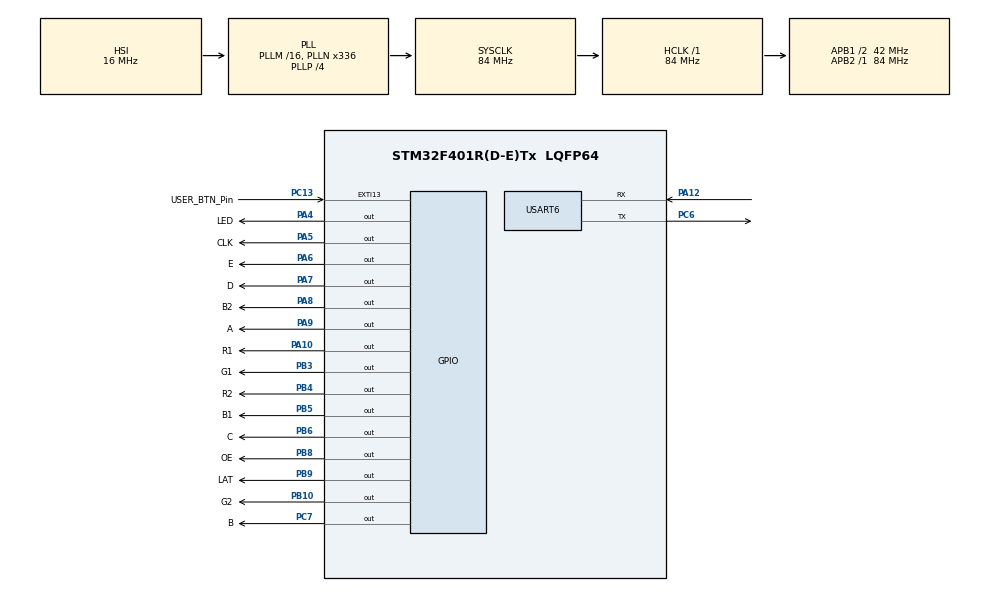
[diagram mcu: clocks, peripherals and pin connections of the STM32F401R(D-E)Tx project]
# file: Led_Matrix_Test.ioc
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FREERTOS.Tasks01=defaultTask,24,256,StartDefaultTask,Default,NULL,Dynamic,NULL,NULL
FREERTOS.configUSE_NEWLIB_REENTRANT=1
Dma.Request0=USART6_RX
Dma.USART6_RX.0.Direction=DMA_PERIPH_TO_MEMORY
Dma.USART6_RX.0.FIFOMode=DMA_FIFOMODE_DISABLE
Dma.USART6_RX.0.Instance=DMA2_Stream1
Dma.USART6_RX.0.MemDataAlignment=DMA_MDATAALIGN_BYTE
Dma.USART6_RX.0.MemInc=DMA_MINC_ENABLE
Dma.USART6_RX.0.Mode=DMA_NORMAL
Dma.USART6_RX.0.PeriphDataAlignment=DMA_PDATAALIGN_BYTE
Dma.USART6_RX.0.PeriphInc=DMA_PINC_DISABLE
Dma.USART6_RX.0.Priority=DMA_PRIORITY_LOW
Mcu.Family=STM32F4
Mcu.Name=STM32F401R(D-E)Tx
Mcu.Package=LQFP64
NVIC.DMA2_Stream1_IRQn=true\:5\:0\:false\:false\:true\:false\:true\:true\:true
NVIC.PriorityGroup=NVIC_PRIORITYGROUP_4
NVIC.TIM1_UP_TIM10_IRQn=true\:5\:0\:false\:false\:true\:true\:true\:true\:true
NVIC.TIM2_IRQn=true\:15\:0\:false\:false\:true\:false\:false\:true\:true
NVIC.TimeBase=TIM2_IRQn
NVIC.TimeBaseIP=TIM2
NVIC.USART6_IRQn=true\:5\:0\:false\:false\:true\:true\:true\:true\:true
PA10.GPIO_Label=R1
PA10.GPIO_Speed=GPIO_SPEED_FREQ_VERY_HIGH
PA10.Signal=GPIO_Output
PA12.Mode=Asynchronous
PA12.Signal=USART6_RX
PA13.Signal=SYS_JTMS-SWDIO
PA14.Signal=SYS_JTCK-SWCLK
PA2.GPIO_Label=USART_TX
PA2.GPIO_Mode=GPIO_MODE_AF_PP
PA2.GPIO_PuPd=GPIO_NOPULL
PA2.GPIO_Speed=GPIO_SPEED_FREQ_LOW
PA2.Signal=USART2_TX
PA3.GPIO_Label=USART_RX
PA3.GPIO_Mode=GPIO_MODE_AF_PP
PA3.GPIO_PuPd=GPIO_NOPULL
PA3.GPIO_Speed=GPIO_SPEED_FREQ_LOW
PA3.Signal=USART2_RX
PA4.GPIO_Label=LED
PA4.Signal=GPIO_Output
PA5.GPIO_Label=CLK
PA5.GPIO_Speed=GPIO_SPEED_FREQ_VERY_HIGH
PA5.Signal=GPIO_Output
PA6.GPIO_Label=E
PA6.GPIO_Speed=GPIO_SPEED_FREQ_VERY_HIGH
PA6.Signal=GPIO_Output
PA7.GPIO_Label=D
PA7.GPIO_Speed=GPIO_SPEED_FREQ_VERY_HIGH
PA7.Signal=GPIO_Output
PA8.GPIO_Label=B2
PA8.GPIO_Speed=GPIO_SPEED_FREQ_VERY_HIGH
PA8.Signal=GPIO_Output
PA9.GPIO_Label=A
PA9.GPIO_Speed=GPIO_SPEED_FREQ_VERY_HIGH
PA9.Signal=GPIO_Output
PB10.GPIO_Label=G2
PB10.GPIO_Speed=GPIO_SPEED_FREQ_VERY_HIGH
PB10.Signal=GPIO_Output
PB3.GPIO_Label=G1
PB3.GPIO_Speed=GPIO_SPEED_FREQ_VERY_HIGH
PB3.Signal=GPIO_Output
PB4.GPIO_Label=R2
PB4.GPIO_Speed=GPIO_SPEED_FREQ_VERY_HIGH
PB4.Signal=GPIO_Output
PB5.GPIO_Label=B1
PB5.GPIO_Speed=GPIO_SPEED_FREQ_VERY_HIGH
PB5.Signal=GPIO_Output
PB6.GPIO_Label=C
PB6.GPIO_Speed=GPIO_SPEED_FREQ_VERY_HIGH
PB6.Signal=GPIO_Output
PB8.GPIO_Label=OE
PB8.GPIO_Speed=GPIO_SPEED_FREQ_VERY_HIGH
PB8.Signal=GPIO_Output
PB9.GPIO_Label=LAT
PB9.GPIO_PuPd=GPIO_NOPULL
PB9.GPIO_Speed=GPIO_SPEED_FREQ_VERY_HIGH
PB9.Signal=GPIO_Output
PC13-ANTI_TAMP.GPIO_Label=USER_BTN_Pin
PC13-ANTI_TAMP.Signal=GPXTI13
PC14-OSC32_IN.Mode=LSE-External-Oscillator
PC14-OSC32_IN.Signal=RCC_OSC32_IN
PC15-OSC32_OUT.Mode=LSE-External-Oscillator
PC15-OSC32_OUT.Signal=RCC_OSC32_OUT
PC6.Mode=Asynchronous
PC6.Signal=USART6_TX
PC7.GPIO_Label=B
PC7.GPIO_Speed=GPIO_SPEED_FREQ_VERY_HIGH
PC7.Signal=GPIO_Output
PH0\ -\ OSC_IN.Mode=HSE-External-Oscillator
PH0\ -\ OSC_IN.Signal=RCC_OSC_IN
PH1\ -\ OSC_OUT.Mode=HSE-External-Oscillator
PH1\ -\ OSC_OUT.Signal=RCC_OSC_OUT
ProjectManager.HeapSize=0x200
ProjectManager.StackSize=0x400
ProjectManager.TargetToolchain=STM32CubeIDE
RCC.48MHZClocksFreq_Value=48000000
RCC.AHBFreq_Value=84000000
RCC.APB1CLKDivider=RCC_HCLK_DIV2
RCC.APB1Freq_Value=42000000
RCC.APB1TimFreq_Value=84000000
RCC.APB2Freq_Value=84000000
RCC.APB2TimFreq_Value=84000000
RCC.CortexFreq_Value=84000000
RCC.HCLKFreq_Value=84000000
RCC.HSE_VALUE=8000000
RCC.HSI_VALUE=16000000
RCC.PLLN=336
RCC.PLLP=RCC_PLLP_DIV4
RCC.PLLQ=7
RCC.SYSCLKFreq_VALUE=84000000
RCC.SYSCLKSource=RCC_SYSCLKSOURCE_PLLCLK
RCC.VCOOutputFreq_Value=336000000
TIM1.AutoReloadPreload=TIM_AUTORELOAD_PRELOAD_ENABLE
TIM1.Period=4
TIM1.Prescaler=582
TIM4.Period=99
TIM4.Prescaler=83
USART6.VirtualMode=VM_ASYNC
VP_FREERTOS_VS_CMSIS_V2.Mode=CMSIS_V2
VP_SYS_VS_tim2.Mode=TIM2
VP_TIM1_VS_ClockSourceINT.Mode=Internal
VP_TIM4_VS_ClockSourceINT.Mode=Internal
board=NUCLEO-F401RE

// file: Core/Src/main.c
/* USER CODE BEGIN Header */
/**
  ******************************************************************************
  * @file           : main.c
  * @brief          : Main program body
  ******************************************************************************
  * @attention
  *
  * Copyright (c) 2026 STMicroelectronics.
  * All rights reserved.
  *
  * This software is licensed under terms that can be found in the LICENSE file
  * in the root directory of this software component.
  * If no LICENSE file comes with this software, it is provided AS-IS.
  *
  ******************************************************************************
  */
/* USER CODE END Header */
#include "main.h"
#include "cmsis_os.h"
#include "dma.h"
#include "tim.h"
#include "usart.h"
#include "gpio.h"

/* USER CODE BEGIN Includes */
#include "Driver_RGBMatrix.h"
#include "modbus_slave.h"
#include "uart_comm.h"
#include <stdbool.h>
#include <string.h>
/* USER CODE END Includes */

/* USER CODE BEGIN PTD */
/* 센서값 한 곳. 그리기 코드는 값의 출처를 모른다 */
typedef struct
{
  uint16_t t_x10;   /* 섭씨 x10. SENSOR_T_NA = 무응답 */
  uint8_t  h_pct;   /* 상대습도 %. SENSOR_H_NA = 무응답 */
} ZoneSensor;

typedef struct
{
  UWORD x;
  UWORD y;
} Pt;
/* USER CODE END PTD */

/* USER CODE BEGIN PD */
/* 64x32 HUB75 1장. 화면 1(온습도 리드아웃) / 2(평면도 히트맵) / 3(화재)
 * 그리기는 전부 프레임버퍼 직접 쓰기. GUI_Paint 경로는 쓰지 않는다 */
#define APP_COLOR_TEST      0        /* 1이면 RGBW 세로 띠만 띄운다(배선 점검용) */
#define SENSOR_T_NA         0xFFFFu
#define SENSOR_H_NA         0xFFu

/* 좌표 검산. 규격이 경고한 "오른쪽 끝 64 / 아래 끝 32 초과"를 빌드 시점에 잡는다 */
_Static_assert(33 + 17 + 11 <= 64, "screen1 face overflows width");
_Static_assert(17 +  2 + 11 <= 32, "screen1 face overflows height");
_Static_assert(48 + 11      <= 64, "screen2 margin number overflows width");
_Static_assert(17 +  8 +  5 <= 32, "screen2 margin humidity overflows height");
_Static_assert(18 + 27      <= 64, "floor plan overflows width");
_Static_assert( 2 + 27      <= 32, "floor plan overflows height");
/* USER CODE END PD */

/* USER CODE BEGIN PV */
static UWORD gui_framebuffer[HUB75_PANEL_WIDTH * HUB75_PANEL_HEIGHT];

/* Z1,Z2,Z3,Z4 = 좌상, 우상, 좌하, 우하 */
static ZoneSensor zone_sensor[4];
static ZoneSensor display_zone_sensor[4];
static Modbus_IntruderTrack intruder_track;
static Modbus_IntruderTrack display_intruder_track;

/* USART6 수신 오류가 나면 HAL이 DMA 수신을 종료한다. 오류 콜백에서 즉시
 * 재시작하되, HAL/DMA가 아직 READY가 아니면 Modbus 태스크가 다시 시도한다. */
static volatile uint8_t  uart6_rx_restart_pending;
static volatile uint32_t uart6_rx_error_count;
static volatile uint32_t uart6_rx_last_error;
/* USER CODE END PV */

void SystemClock_Config(void);
void MX_FREERTOS_Init(void);
/* USER CODE BEGIN PFP */
void Modbus_Rtos_QueueFrameFromISR(const uint8_t *data, uint16_t len);
void Modbus_Uart_PollRecovery(void);
/* USER CODE END PFP */

/* USER CODE BEGIN 0 */

/* USART6 Modbus 수신을 IDLE DMA 모드로 시작한다. 오류 플래그는 SR/DR 읽기
 * 순서로 한꺼번에 지워 다음 시작 직후 같은 오류가 다시 걸리지 않게 한다. */
static HAL_StatusTypeDef Modbus_Uart_StartRx(void)
{
  HAL_StatusTypeDef status;

  __HAL_UART_CLEAR_OREFLAG(&huart6);
  status = HAL_UARTEx_ReceiveToIdle_DMA(&huart6, rx_buffer, sizeof(rx_buffer));
  if(status == HAL_OK)
  {
    __HAL_DMA_DISABLE_IT(huart6.hdmarx, DMA_IT_HT);
    uart6_rx_restart_pending = 0U;
  }
  else
  {
    uart6_rx_restart_pending = 1U;
  }

  return status;
}

/* 오류 IRQ 안에서 DMA 재시작이 실패했을 때 태스크 문맥에서 안전하게 정리한
 * 뒤 재시도한다. Modbus 태스크가 100 ms마다 호출하므로 RESET 없이 복구된다. */
void Modbus_Uart_PollRecovery(void)
{
  if(uart6_rx_restart_pending == 0U)
    return;

  (void)HAL_UART_AbortReceive(&huart6);
  (void)Modbus_Uart_StartRx();
}

/* --- 색 --------------------------------------------------------------- */

/* 채널당 0~7 레벨로 색을 만든다.
 * 드라이버가 각 채널의 비트 6/5/4만 읽고 비트7은 버리므로(HUB75_WritePanel),
 * RGB565를 눈대중으로 넣으면 엉뚱하게 어두워지거나 아예 검정이 된다. */
static UWORD app_rgb3(UWORD r, UWORD g, UWORD b)
{
  return (UWORD)(((r * 2U) << 11) | ((g * 4U) << 5) | (b * 2U));
}

static UWORD app_rgb3v(const uint8_t v[3])
{
  return app_rgb3(v[0], v[1], v[2]);
}

/* --- 프레임버퍼 --------------------------------------------------------- */

static void fb_fill(UWORD x, UWORD y, UWORD w, UWORD h, UWORD color)
{
  for(UWORD j = 0U; j < h; j++)
  {
    UWORD yy = (UWORD)(y + j);
    if(yy >= HUB75_PANEL_HEIGHT)
      break;
    for(UWORD i = 0U; i < w; i++)
    {
      UWORD xx = (UWORD)(x + i);
      if(xx >= HUB75_PANEL_WIDTH)
        break;
      gui_framebuffer[yy * HUB75_PANEL_WIDTH + xx] = color;
    }
  }
}

static void fb_flush(void)
{
  HUB75_LoadRGB565Frame(gui_framebuffer, HUB75_PANEL_WIDTH, HUB75_PANEL_HEIGHT);
}

/* --- 폰트 --------------------------------------------------------------- */

/* 5x7 굵은 숫자. 한 행의 하위 5비트, 왼쪽 픽셀이 bit4. 세로획 2px */
static const uint8_t font5x7[10][7] =
{
  {0x0E, 0x1B, 0x1B, 0x1B, 0x1B, 0x1B, 0x0E},   /* 0 */
  {0x06, 0x0E, 0x06, 0x06, 0x06, 0x06, 0x0F},   /* 1 */
  {0x0E, 0x1B, 0x03, 0x06, 0x0C, 0x18, 0x1F},   /* 2 */
  {0x1F, 0x03, 0x0E, 0x03, 0x03, 0x1B, 0x0E},   /* 3 */
  {0x03, 0x07, 0x0F, 0x1B, 0x1F, 0x03, 0x03},   /* 4 */
  {0x1F, 0x18, 0x1E, 0x03, 0x03, 0x1B, 0x0E},   /* 5 */
  {0x06, 0x0C, 0x18, 0x1E, 0x1B, 0x1B, 0x0E},   /* 6 */
  {0x1F, 0x03, 0x03, 0x06, 0x06, 0x0C, 0x0C},   /* 7 */
  {0x0E, 0x1B, 0x1B, 0x0E, 0x1B, 0x1B, 0x0E},   /* 8 */
  {0x0E, 0x1B, 0x1B, 0x0F, 0x03, 0x06, 0x0C}    /* 9 */
};
static const uint8_t font5x7_dash[7] = {0x00, 0x00, 0x00, 0x1F, 0x00, 0x00, 0x00};

/* 3x5 숫자. 한 행의 하위 3비트, 왼쪽 픽셀이 bit2 */
static const uint8_t font3x5[10][5] =
{
  {0x7U, 0x5U, 0x5U, 0x5U, 0x7U},   /* 0 */
  {0x2U, 0x6U, 0x2U, 0x2U, 0x7U},   /* 1 */
  {0x7U, 0x1U, 0x7U, 0x4U, 0x7U},   /* 2 */
  {0x7U, 0x1U, 0x7U, 0x1U, 0x7U},   /* 3 */
  {0x5U, 0x5U, 0x7U, 0x1U, 0x1U},   /* 4 */
  {0x7U, 0x4U, 0x7U, 0x1U, 0x7U},   /* 5 */
  {0x7U, 0x4U, 0x7U, 0x5U, 0x7U},   /* 6 */
  {0x7U, 0x1U, 0x2U, 0x2U, 0x2U},   /* 7 */
  {0x7U, 0x5U, 0x7U, 0x5U, 0x7U},   /* 8 */
  {0x7U, 0x5U, 0x7U, 0x1U, 0x7U}    /* 9 */
};
static const uint8_t font3x5_dash[5] = {0x0U, 0x0U, 0x7U, 0x0U, 0x0U};

/* rows[r]의 하위 w비트, 왼쪽 픽셀이 bit(w-1) */
static void fb_glyph(UWORD x, UWORD y, const uint8_t *rows, UWORD w, UWORD h, UWORD color)
{
  for(UWORD r = 0U; r < h; r++)
  {
    for(UWORD c = 0U; c < w; c++)
    {
      if(((rows[r] >> (w - 1U - c)) & 1U) != 0U)
        fb_fill((UWORD)(x + c), (UWORD)(y + r), 1U, 1U, color);
    }
  }
}

/* 두 자리. 0~99 밖이거나 무응답이면 규격대로 "--" 3·3·3. 클램프하지 않는다 */
static void fb_num2_5x7(UWORD x, UWORD y, int value, UWORD color)
{
  bool na = (value < 0) || (value > 99);
  UWORD col = na ? app_rgb3(3U, 3U, 3U) : color;

  fb_glyph(x,             y, na ? font5x7_dash : font5x7[(value / 10) % 10], 5U, 7U, col);
  fb_glyph((UWORD)(x + 6U), y, na ? font5x7_dash : font5x7[value % 10],      5U, 7U, col);
}

static void fb_num2_3x5(UWORD x, UWORD y, int value, UWORD color)
{
  bool na = (value < 0) || (value > 99);
  UWORD col = na ? app_rgb3(3U, 3U, 3U) : color;

  fb_glyph(x,             y, na ? font3x5_dash : font3x5[(value / 10) % 10], 3U, 5U, col);
  fb_glyph((UWORD)(x + 4U), y, na ? font3x5_dash : font3x5[value % 10],      3U, 5U, col);
}

/* --- 불쾌지수 얼굴 ------------------------------------------------------ */

/* 11x11, 하위 11비트, 왼쪽 픽셀이 bit10.
 * 모양과 색이 함께 바뀐다 - 색만이면 색약 사용자가 못 읽고,
 * 모양만이면 원거리에서 11px가 뭉개진다 */
static const uint16_t face11[4][11] =
{
  /* 쾌적: 웃는 입 */
  {0x0F8, 0x306, 0x202, 0x489, 0x489, 0x401, 0x505, 0x4F9, 0x202, 0x306, 0x0F8},
  /* 약간불쾌: 일자 입 */
  {0x0F8, 0x306, 0x202, 0x489, 0x489, 0x401, 0x401, 0x4F9, 0x202, 0x306, 0x0F8},
  /* 불쾌: 찡그린 입 */
  {0x0F8, 0x306, 0x202, 0x489, 0x489, 0x401, 0x4F9, 0x505, 0x202, 0x306, 0x0F8},
  /* 매우불쾌: 찡그린 입 + 찌푸린 눈썹 */
  {0x0F8, 0x306, 0x202, 0x58D, 0x489, 0x401, 0x4F9, 0x505, 0x202, 0x306, 0x0F8}
};
static const uint8_t di_rgb[4][3] = {{0U,6U,0U}, {6U,6U,0U}, {7U,4U,0U}, {7U,1U,0U}};

static void fb_face11(UWORD x, UWORD y, const uint16_t rows[11], UWORD color)
{
  for(UWORD r = 0U; r < 11U; r++)
  {
    for(UWORD c = 0U; c < 11U; c++)
    {
      if(((rows[r] >> (10U - c)) & 1U) != 0U)
        fb_fill((UWORD)(x + c), (UWORD)(y + r), 1U, 1U, color);
    }
  }
}

/* DI = 0.81T + 0.01H(0.99T - 14.3) + 46.3 */
static uint8_t app_di_level(uint16_t t_x10, uint8_t h_pct)
{
  float t = (float)t_x10 / 10.0f;
  float di = (0.81f * t) + (0.01f * (float)h_pct * ((0.99f * t) - 14.3f)) + 46.3f;

  if(di < 70.0f)
    return 0U;
  if(di < 75.0f)
    return 1U;
  if(di < 80.0f)
    return 2U;
  return 3U;
}

/* --- 센서 접근 (그리기 코드는 여기로만 읽는다) --------------------------- */

static int zone_temp_c(uint8_t z)
{
  uint16_t t = display_zone_sensor[z].t_x10;
  return (t == SENSOR_T_NA) ? -1 : (int)(t / 10U);
}

static int zone_humid(uint8_t z)
{
  uint8_t h = display_zone_sensor[z].h_pct;
  return (h == SENSOR_H_NA) ? -1 : (int)h;
}

static bool zone_ok(uint8_t z)
{
  return (zone_temp_c(z) >= 0) && (zone_humid(z) >= 0);
}

/* Modbus 가상 레지스터(100~107)를 화면용 센서 상태로 반영한다.
 * 값이 실제로 바뀐 경우에만 true를 반환해 Render 태스크가 다시 그리게 한다. */
bool App_UpdateSensorsFromModbus(void)
{
  static const uint16_t temp_addr[4] = {
    REG_ZONE1_TEMP_X10, REG_ZONE2_TEMP_X10,
    REG_ZONE3_TEMP_X10, REG_ZONE4_TEMP_X10
  };
  static const uint16_t humid_addr[4] = {
    REG_ZONE1_HUMIDITY, REG_ZONE2_HUMIDITY,
    REG_ZONE3_HUMIDITY, REG_ZONE4_HUMIDITY
  };
  bool changed = false;

  for(uint8_t z = 0U; z < 4U; z++)
  {
    int ok_temp = 0;
    int ok_humid = 0;
    uint16_t temp = Modbus_Slave_GetRegister(temp_addr[z], &ok_temp);
    uint16_t humid_raw = Modbus_Slave_GetRegister(humid_addr[z], &ok_humid);
    uint8_t humid = (ok_humid && (humid_raw <= 100U))
                  ? (uint8_t)humid_raw : SENSOR_H_NA;

    if(!ok_temp)
      temp = SENSOR_T_NA;

    if((zone_sensor[z].t_x10 != temp) || (zone_sensor[z].h_pct != humid))
    {
      zone_sensor[z].t_x10 = temp;
      zone_sensor[z].h_pct = humid;
      changed = true;
    }
  }

  return changed;
}

/* 침입자 현재점 A와 방향점 B를 원자적 스냅샷으로 가져온다. */
bool App_UpdateIntruderFromModbus(void)
{
  Modbus_IntruderTrack next;

  if(!Modbus_Slave_GetIntruderTrack(&next))
    return false;
  if(memcmp(&intruder_track, &next, sizeof(next)) == 0)
    return false;

  intruder_track = next;
  return true;
}

/* 화면 1과 이어지는 화면 2가 반드시 같은 시점의 데이터를 사용하도록 고정한다. */
void App_CaptureDisplayState(void)
{
  memcpy(display_zone_sensor, zone_sensor, sizeof(display_zone_sensor));
  display_intruder_track = intruder_track;
}

/* --- 화면 1: 온습도 리드아웃 -------------------------------------------- */

static const Pt cell_origin[4] = {{0U, 0U}, {33U, 0U}, {0U, 17U}, {33U, 17U}};

void App_DrawScreen1(void)
{
  const UWORD col_grid = app_rgb3(1U, 1U, 1U);

  memset(gui_framebuffer, 0, sizeof(gui_framebuffer));

  /* 격자: x31-32 세로 전체, y15-16 가로 전체 */
  fb_fill(31U, 0U, 2U, HUB75_PANEL_HEIGHT, col_grid);
  fb_fill(0U, 15U, HUB75_PANEL_WIDTH, 2U, col_grid);

  for(uint8_t z = 0U; z < 4U; z++)
  {
    UWORD ox = cell_origin[z].x;
    UWORD oy = cell_origin[z].y;

    fb_num2_5x7((UWORD)(ox + 2U), (UWORD)(oy + 1U), zone_temp_c(z), app_rgb3(7U, 7U, 7U));
    fb_num2_3x5((UWORD)(ox + 2U), (UWORD)(oy + 9U), zone_humid(z),  app_rgb3(3U, 4U, 5U));

    if(zone_ok(z))
    {
      uint8_t d = app_di_level(display_zone_sensor[z].t_x10,
                               display_zone_sensor[z].h_pct);
      fb_face11((UWORD)(ox + 17U), (UWORD)(oy + 2U), face11[d], app_rgb3v(di_rgb[d]));
    }
  }

  fb_flush();
}

/* --- 화면 2/3 공용 평면도 ------------------------------------------------ */

static const Pt plan_zone[4] = {{19U, 3U}, {32U, 3U}, {19U, 16U}, {32U, 16U}};

/* 외벽 + 십자벽 + 출입구 틈. 구역을 칠한 뒤에 그린다 */
static void fb_floor_walls(void)
{
  const UWORD w = app_rgb3(6U, 6U, 7U);

  fb_fill(18U,  2U, 27U,  1U, w);   /* 외벽 상 */
  fb_fill(18U, 28U, 27U,  1U, w);   /* 외벽 하 */
  fb_fill(18U,  2U,  1U, 27U, w);   /* 외벽 좌 */
  fb_fill(44U,  2U,  1U, 27U, w);   /* 외벽 우 */
  fb_fill(31U,  2U,  1U, 27U, w);   /* 십자 세로 */
  fb_fill(18U, 15U, 27U,  1U, w);   /* 십자 가로 */

  /* 출입구: 벽 픽셀을 실제로 소등해서 틈을 낸다 */
  fb_fill(36U,  2U, 5U, 1U, 0U);    /* 상단 우측 */
  fb_fill(23U, 28U, 5U, 1U, 0U);    /* 하단 좌측 */
}

/* 출입구 표식 5x1. 벽과 1px 여백 */
static void fb_door_marks(UWORD color)
{
  fb_fill(36U,  0U, 5U, 1U, color);
  fb_fill(23U, 30U, 5U, 1U, color);
}

/* --- 화면 2: 구역별 환경 상태(불쾌지수) ----------------------------------- */

/* 0~1000 좌표를 평면도 안쪽의 3x3 점 좌상단으로 바꾼다.
 * 입력 (0,0)=좌상단, (1000,1000)=우하단이다. */
static Pt app_intruder_dot(uint16_t x, uint16_t y)
{
  Pt p;
  p.x = (UWORD)(19U + ((uint32_t)x * 22U) / MODBUS_COORD_MAX);
  p.y = (UWORD)( 3U + ((uint32_t)y * 22U) / MODBUS_COORD_MAX);
  return p;
}

static void fb_intruder_dots(void)
{
  if((display_intruder_track.status & MODBUS_INTRUDER_DIRECTION_VALID) != 0U)
  {
    Pt b = app_intruder_dot(display_intruder_track.direction_x,
                            display_intruder_track.direction_y);
    fb_fill(b.x, b.y, 3U, 3U, app_rgb3(0U, 7U, 7U));  /* B: 방향점, 청록 */
  }

  if((display_intruder_track.status & MODBUS_INTRUDER_CURRENT_VALID) != 0U)
  {
    Pt a = app_intruder_dot(display_intruder_track.current_x,
                            display_intruder_track.current_y);
    fb_fill(a.x, a.y, 3U, 3U, app_rgb3(7U, 7U, 7U));  /* A: 현재점, 흰색 */
  }
}

/* Zone 1 우측 상단의 화재 셔터. 상단 출입문과 같은 높이로 표시한다. */
static void fb_fire_shutter(void)
{
  fb_fill(26U, 2U, 5U, 1U, 0U);
  fb_fill(26U, 0U, 5U, 1U, app_rgb3(7U, 2U, 0U));
}

void App_DrawScreen2(void)
{
  memset(gui_framebuffer, 0, sizeof(gui_framebuffer));

  for(uint8_t z = 0U; z < 4U; z++)
  {
    UWORD col;
    UWORD label_col;

    if(!zone_ok(z))
    {
      col = app_rgb3(1U, 1U, 1U);   /* 무응답 구역은 눌러둔다 */
      label_col = app_rgb3(6U, 6U, 7U);
    }
    else
    {
      uint8_t d = app_di_level(display_zone_sensor[z].t_x10,
                               display_zone_sensor[z].h_pct);
      col = app_rgb3v(di_rgb[d]);
      label_col = 0U;
    }

    fb_fill(plan_zone[z].x, plan_zone[z].y, 12U, 12U, col);
    fb_glyph((UWORD)(plan_zone[z].x + 3U), (UWORD)(plan_zone[z].y + 2U),
             font5x7[z + 1U], 5U, 7U, label_col);
  }

  fb_floor_walls();
  fb_door_marks(app_rgb3(0U, 5U, 0U));
  fb_intruder_dots();
  fb_fire_shutter();

  fb_flush();
}

/* --- 화면 3: 화재 -------------------------------------------------------- */

/* ponytail: 출입구 두 곳을 항상 함께 점멸시킨다. 화재가 문 쪽 구역에서 났을 때
 * 위험한 문을 끄는 규칙은 미결이라 넣지 않았다 */
void App_DrawScreen3(uint8_t fire_zone, bool blink_on)
{
  memset(gui_framebuffer, 0, sizeof(gui_framebuffer));

  for(uint8_t z = 0U; z < 4U; z++)
  {
    UWORD col;

    if(z == fire_zone)
      col = blink_on ? app_rgb3(7U, 0U, 0U) : app_rgb3(3U, 0U, 0U);
    else
      col = app_rgb3(1U, 1U, 1U);   /* 시선을 뺏지 않게 눌러둔다 */

    fb_fill(plan_zone[z].x, plan_zone[z].y, 12U, 12U, col);
  }

  fb_floor_walls();

  /* 출입구는 화재 구역과 반대 위상.
   * 같은 위상이면 "어디로 가라"가 아니라 화면 전체가 깜빡이는 걸로 보인다 */
  fb_door_marks(blink_on ? app_rgb3(0U, 2U, 0U) : app_rgb3(0U, 7U, 0U));

  /* 화재 구역 안에만 구역번호 한 자리. 규격의 (23,7)은 Z1 기준 +4,+4 */
  fb_glyph((UWORD)(plan_zone[fire_zone].x + 4U), (UWORD)(plan_zone[fire_zone].y + 4U),
           font5x7[(fire_zone + 1U) % 10U], 5U, 7U, app_rgb3(7U, 7U, 7U));

  fb_flush();
}

#if APP_COLOR_TEST
/* 채널별 배선 점검용. 세로 띠라 위/아래 절반(R1G1B1 / R2G2B2)을 동시에 지난다 */
static void App_DrawColorTest(void)
{
  memset(gui_framebuffer, 0, sizeof(gui_framebuffer));
  fb_fill(0U,  0U, 16U, HUB75_PANEL_HEIGHT, app_rgb3(7U, 0U, 0U));
  fb_fill(16U, 0U, 16U, HUB75_PANEL_HEIGHT, app_rgb3(0U, 7U, 0U));
  fb_fill(32U, 0U, 16U, HUB75_PANEL_HEIGHT, app_rgb3(0U, 0U, 7U));
  fb_fill(48U, 0U, 16U, HUB75_PANEL_HEIGHT, app_rgb3(7U, 7U, 7U));
  fb_flush();
}
#endif
/* USER CODE END 0 */

int main(void)
{

  /* MCU Configuration--------------------------------------------------------*/

  /* Reset of all peripherals, Initializes the Flash interface and the Systick. */
  HAL_Init();

  /* Configure the system clock */
  SystemClock_Config();

  /* Initialize all configured peripherals */
  MX_GPIO_Init();
  MX_DMA_Init();
  MX_TIM4_Init();
  MX_TIM1_Init();
  MX_USART6_UART_Init();
  /* USER CODE BEGIN 2 */
  /* CubeMX NVIC 화면은 FreeRTOS가 켜지면 5보다 급한(숫자가 작은) 우선순위를
   * 못 고르게 막는다 - RTOS API를 부르는 ISR이 실수로 커널 관리 밖에 놓이는
   * 걸 막기 위한 안전장치. TIM1 스캔 ISR은 정확히 그 "관리 밖"에 있어야
   * 하고 RTOS API를 전혀 안 부르니 여기서 GUI값(5) 위에 덮어쓴다.
   * MX_TIM1_Init()이 이미 위에서 5로 설정한 뒤라 순서상 이 자리여야 함 */
  HAL_NVIC_SetPriority(TIM1_UP_TIM10_IRQn, 0, 0);

  Modbus_Slave_Init();

  DWT_Init();
  HUB75_Init();
  HUB75_SetBrightness(255);
  /* 1 = 가장 빠름. 낮은 값일수록 스캔이 잦아 깜빡임이 준다.
   * 4는 초당 프레임을 61Hz까지 떨어뜨려 오히려 더 깜빡인다 */
  HUB75_SetRefreshRate(1);

  App_UpdateSensorsFromModbus();
  App_CaptureDisplayState();
  /* USER CODE END 2 */

  /* Init scheduler */
  osKernelInitialize();  /* Call init function for freertos objects (in cmsis_os2.c) */
  MX_FREERTOS_Init();

  /* Queue가 만들어진 뒤 DMA 수신을 시작해야 첫 프레임도 유실되지 않는다. */
  if(Modbus_Uart_StartRx() != HAL_OK)
  {
    Error_Handler();
  }

  /* Start scheduler */
  osKernelStart();

  /* We should never get here as control is now taken by the scheduler */

  /* osKernelStart()는 리턴하지 않는다. 화면/Modbus 로직은 freertos.c의
   * Render, UI, Modbus 태스크에서 각각 실행된다. */
  /* Infinite loop */

}

void SystemClock_Config(void)
{
  RCC_OscInitTypeDef RCC_OscInitStruct = {0};
  RCC_ClkInitTypeDef RCC_ClkInitStruct = {0};

  /** Configure the main internal regulator output voltage
  */
  __HAL_RCC_PWR_CLK_ENABLE();
  __HAL_PWR_VOLTAGESCALING_CONFIG(PWR_REGULATOR_VOLTAGE_SCALE2);

  /** Initializes the RCC Oscillators according to the specified parameters
  * in the RCC_OscInitTypeDef structure.
  */
  RCC_OscInitStruct.OscillatorType = RCC_OSCILLATORTYPE_HSI;
  RCC_OscInitStruct.HSIState = RCC_HSI_ON;
  RCC_OscInitStruct.HSICalibrationValue = RCC_HSICALIBRATION_DEFAULT;
  RCC_OscInitStruct.PLL.PLLState = RCC_PLL_ON;
  RCC_OscInitStruct.PLL.PLLSource = RCC_PLLSOURCE_HSI;
  RCC_OscInitStruct.PLL.PLLM = 16;
  RCC_OscInitStruct.PLL.PLLN = 336;
  RCC_OscInitStruct.PLL.PLLP = RCC_PLLP_DIV4;
  RCC_OscInitStruct.PLL.PLLQ = 7;
  if (HAL_RCC_OscConfig(&RCC_OscInitStruct) != HAL_OK)
  {
    Error_Handler();
  }

  /** Initializes the CPU, AHB and APB buses clocks
  */
  RCC_ClkInitStruct.ClockType = RCC_CLOCKTYPE_HCLK|RCC_CLOCKTYPE_SYSCLK
                              |RCC_CLOCKTYPE_PCLK1|RCC_CLOCKTYPE_PCLK2;
  RCC_ClkInitStruct.SYSCLKSource = RCC_SYSCLKSOURCE_PLLCLK;
  RCC_ClkInitStruct.AHBCLKDivider = RCC_SYSCLK_DIV1;
  RCC_ClkInitStruct.APB1CLKDivider = RCC_HCLK_DIV2;
  RCC_ClkInitStruct.APB2CLKDivider = RCC_HCLK_DIV1;

  if (HAL_RCC_ClockConfig(&RCC_ClkInitStruct, FLASH_LATENCY_2) != HAL_OK)
  {
    Error_Handler();
  }
}

/* USER CODE BEGIN 4 */
void HAL_UARTEx_RxEventCallback(UART_HandleTypeDef *huart, uint16_t Size)
{
  if(huart->Instance != USART6)
    return;

  /* IRQ에서는 프레임을 큐에 복사하고 즉시 복귀한다. CRC 검증과 응답 송신은
   * Modbus 태스크에서 처리하므로 LED 스캔과 다른 태스크를 오래 막지 않는다. */
  Modbus_Rtos_QueueFrameFromISR(rx_buffer, Size);

  (void)Modbus_Uart_StartRx();
}

void HAL_UART_ErrorCallback(UART_HandleTypeDef *huart)
{
  if(huart->Instance != USART6)
    return;

  /* DMA 모드의 ORE/FE/NE는 HAL 내부에서 blocking error로 처리되어 RxState가
   * READY로 돌아온 뒤 이 콜백에 도착한다. 오류를 기록하고 즉시 재수신한다. */
  uart6_rx_last_error = huart->ErrorCode;
  uart6_rx_error_count++;
  uart6_rx_restart_pending = 1U;
  (void)Modbus_Uart_StartRx();
}

/* USER CODE END 4 */

void HAL_TIM_PeriodElapsedCallback(TIM_HandleTypeDef *htim)
{
  /* USER CODE BEGIN Callback 0 */
  if (htim->Instance == TIM1)
  {
    HUB75_OnScanTick();
    return;
  }
  /* USER CODE END Callback 0 */
  if (htim->Instance == TIM2)
  {
    HAL_IncTick();
  }
}

void Error_Handler(void)
{
  __disable_irq();
  while (1)
  {
  }
}

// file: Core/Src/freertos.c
/* USER CODE BEGIN Header */
/**
  ******************************************************************************
  * File Name          : freertos.c
  * Description        : Code for freertos applications
  ******************************************************************************
  * @attention
  *
  * Copyright (c) 2026 STMicroelectronics.
  * All rights reserved.
  *
  * This software is licensed under terms that can be found in the LICENSE file
  * in the root directory of this software component.
  * If no LICENSE file comes with this software, it is provided AS-IS.
  *
  ******************************************************************************
  */
/* USER CODE END Header */

#include "FreeRTOS.h"
#include "task.h"
#include "main.h"
#include "cmsis_os.h"

/* USER CODE BEGIN Includes */
#include "Driver_RGBMatrix.h"
#include "modbus_slave.h"
#include <stdbool.h>
#include <string.h>

/* main.c의 화면 데이터 반영/그리기 함수 */
bool App_UpdateSensorsFromModbus(void);
bool App_UpdateIntruderFromModbus(void);
void App_CaptureDisplayState(void);
void Modbus_Uart_PollRecovery(void);
void App_DrawScreen1(void);
void App_DrawScreen2(void);
void App_DrawScreen3(uint8_t fire_zone, bool blink_on);

#define SCREEN_PERIOD_MS    5000U
#define MODBUS_FRAME_MAX    256U
#define MODBUS_QUEUE_DEPTH  4U
/* USER CODE END Includes */

/* USER CODE BEGIN PTD */
typedef struct
{
  uint16_t len;
  uint8_t data[MODBUS_FRAME_MAX];
} ModbusFrame;
/* USER CODE END PTD */

/* USER CODE BEGIN Variables */
/* Render가 읽고 UI가 쓰는 단순 스칼라 상태. */
static volatile uint8_t  g_screen_idx  = 0U;   /* 0=화면1, 1=화면2, 2=화면3 */
static volatile bool     g_fire        = false;
static volatile uint8_t  g_fire_zone   = 0U;
static volatile uint32_t g_data_revision = 1U;

static osMessageQueueId_t modbusQueueHandle;

static osThreadId_t renderTaskHandle;
static const osThreadAttr_t renderTask_attributes = {
  .name = "Render",
  .stack_size = 256 * 4,
  .priority = (osPriority_t) osPriorityAboveNormal,   /* 스캔 펌프를 쥐고 있어 최우선 */
};

static osThreadId_t uiTaskHandle;
static const osThreadAttr_t uiTask_attributes = {
  .name = "UI",
  .stack_size = 128 * 4,
  .priority = (osPriority_t) osPriorityNormal,
};
/* USER CODE END Variables */
/* Definitions for defaultTask */
osThreadId_t defaultTaskHandle;
const osThreadAttr_t defaultTask_attributes = {
  .name = "Modbus",
  .stack_size = 256 * 4,
  .priority = (osPriority_t) osPriorityNormal,
};

/* USER CODE BEGIN FunctionPrototypes */
void StartRenderTask(void *argument);
void StartUiTask(void *argument);
/* USER CODE END FunctionPrototypes */

void StartDefaultTask(void *argument);

void MX_FREERTOS_Init(void); /* (MISRA C 2004 rule 8.1) */

void MX_FREERTOS_Init(void) {

  /* USER CODE BEGIN RTOS_QUEUES */
  modbusQueueHandle = osMessageQueueNew(MODBUS_QUEUE_DEPTH,
                                        sizeof(ModbusFrame), NULL);
  if(modbusQueueHandle == NULL)
  {
    Error_Handler();
  }
  /* USER CODE END RTOS_QUEUES */

  /* Create the thread(s) */
  /* creation of defaultTask */
  defaultTaskHandle = osThreadNew(StartDefaultTask, NULL, &defaultTask_attributes);

  /* USER CODE BEGIN RTOS_THREADS */
  renderTaskHandle = osThreadNew(StartRenderTask, NULL, &renderTask_attributes);
  uiTaskHandle = osThreadNew(StartUiTask, NULL, &uiTask_attributes);
  if((defaultTaskHandle == NULL) || (renderTaskHandle == NULL)
      || (uiTaskHandle == NULL))
  {
    Error_Handler();
  }
  /* USER CODE END RTOS_THREADS */

}

void StartDefaultTask(void *argument)
{
  /* USER CODE BEGIN StartDefaultTask */
  ModbusFrame frame;

  /* UART IRQ가 큐에 넣은 프레임을 태스크 문맥에서 검증하고 응답한다. */
  for(;;)
  {
    if(osMessageQueueGet(modbusQueueHandle, &frame, NULL, 100U) == osOK)
    {
      Modbus_Slave_OnFrame(frame.data, frame.len);
    }
    Modbus_Slave_Poll();
    Modbus_Uart_PollRecovery();
  }
  /* USER CODE END StartDefaultTask */
}

/* USER CODE BEGIN Application */

/*
 * @brief  최우선순위. 스캔 펌프를 쥐고 있고, UI가 써둔 공유 상태를
 *         읽어서 바뀐 게 있을 때만 다시 그린다.
 * @note   osDelay(1)로 매 루프 블로킹하는 게 핵심 - 안 그러면 이 태스크가
 *         Normal 우선순위인 UI/Modbus를 영원히 못 돌게 굶긴다. 1ms 주기는
 *         TIM1 틱(~62.5us)이 그 사이 16개 쌓이는 계산이라 HUB75_Display()의
 *         예산(HUB75_SCAN_ROWS=16)과 정확히 맞아떨어진다.
 * @retval None
 */
void StartRenderTask(void *argument)
{
  uint32_t sig_last = 0xFFFFFFFFu;

  for(;;)
  {
    HUB75_Display();

    bool    blink_on   = ((HAL_GetTick() / 500U) % 2U) == 0U;
    uint8_t screen_idx = g_screen_idx;
    bool    fire        = g_fire;
    uint8_t fire_zone   = g_fire_zone;
    uint32_t revision = g_data_revision;
    bool screen3_active = fire || (screen_idx == 2U);

    uint32_t sig = (uint32_t)screen_idx
                 | ((uint32_t)fire << 2)
                 | ((uint32_t)(screen3_active && blink_on) << 3)
                 | ((uint32_t)fire_zone << 4)
                 | (revision << 8);

    if(sig != sig_last)
    {
      sig_last = sig;

      if(screen3_active)
        App_DrawScreen3(fire_zone, blink_on);
      else if(screen_idx == 0U)
        App_DrawScreen1();
      else
        App_DrawScreen2();
    }

    osDelay(1);
  }
}

/*
 * @brief  Modbus 레지스터를 화면 상태로 옮긴다. SCREEN_SELECT=0이면
 *         화면1/2 자동 순환, 1~3이면 해당 화면 고정이다. 화재 bitmap은
 *         화면 선택보다 우선하며, 여러 bit가 켜지면 가장 낮은 Zone을 표시한다.
 * @retval None
 */
void StartUiTask(void *argument)
{
  uint32_t screen_last = HAL_GetTick();
  uint8_t auto_screen_idx = 0U;
  uint8_t previous_screen_idx = 0xFFU;

  for(;;)
  {
    uint32_t now = HAL_GetTick();
    int ok_screen = 0;
    int ok_fire = 0;
    uint16_t screen_select = Modbus_Slave_GetRegister(REG_SCREEN_SELECT, &ok_screen);
    uint16_t fire_bitmap = Modbus_Slave_GetRegister(REG_FIRE_ZONE_BITMAP, &ok_fire);

    (void)App_UpdateSensorsFromModbus();
    (void)App_UpdateIntruderFromModbus();

    if(!ok_screen || (screen_select > 3U))
      screen_select = 0U;

    if(screen_select == 0U)
    {
      if((now - screen_last) >= SCREEN_PERIOD_MS)
      {
        screen_last = now;
        auto_screen_idx ^= 1U;
      }
      g_screen_idx = auto_screen_idx;
    }
    else
    {
      g_screen_idx = (uint8_t)(screen_select - 1U);
      screen_last = now;
    }

    /* 현재 화면은 표시되는 동안 고정하고, 화면 전환 때만 최신 데이터로 다시 그린다. */
    if(g_screen_idx != previous_screen_idx)
    {
      /* 화면 1과 바로 다음 화면 2가 하나의 센서 스냅샷을 공유한다. */
      if((previous_screen_idx == 0xFFU) || (g_screen_idx == 0U)
          || ((g_screen_idx == 1U) && (previous_screen_idx != 0U)))
        App_CaptureDisplayState();

      previous_screen_idx = g_screen_idx;
      g_data_revision++;
    }

    fire_bitmap = ok_fire ? (uint16_t)(fire_bitmap & 0x000FU) : 0U;
    g_fire = (fire_bitmap != 0U);

    if(fire_bitmap != 0U)
    {
      for(uint8_t zone = 0U; zone < 4U; zone++)
      {
        if((fire_bitmap & (uint16_t)(1U << zone)) != 0U)
        {
          g_fire_zone = zone;
          break;
        }
      }
    }

    osDelay(100);
  }
}

/* USART6/DMA IRQ 전용 진입점. IRQ 우선순위는 FreeRTOS API 허용 경계인 5다. */
void Modbus_Rtos_QueueFrameFromISR(const uint8_t *data, uint16_t len)
{
  ModbusFrame frame;

  if((modbusQueueHandle == NULL) || (data == NULL)
      || (len < 4U) || (len > MODBUS_FRAME_MAX))
  {
    return;
  }

  frame.len = len;
  memcpy(frame.data, data, len);
  (void)osMessageQueuePut(modbusQueueHandle, &frame, 0U, 0U);
}

/* USER CODE END Application */
